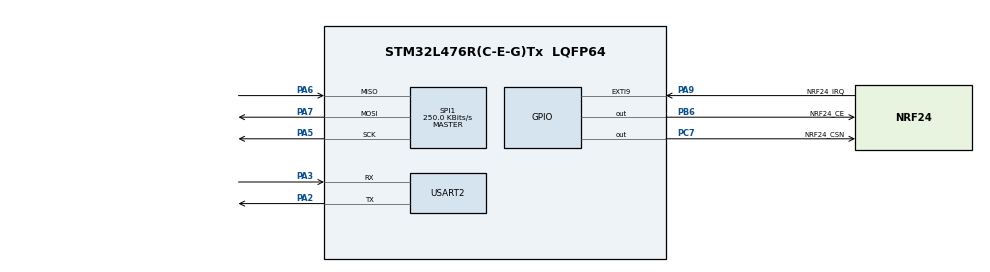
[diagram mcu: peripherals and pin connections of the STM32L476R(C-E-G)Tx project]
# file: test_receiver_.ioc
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Mcu.Family=STM32L4
RCC.MSI_VALUE=4000000
PA14\ (JTCK-SWCLK).Mode=Serial_Wire
PA6.Mode=Full_Duplex_Master
PA7.Mode=Full_Duplex_Master
SPI1.VirtualType=VM_MASTER
PA9.GPIO_Label=NRF24_IRQ
PB6.GPIO_Label=NRF24_CE
ProjectManager.StackSize=0x400
PA14\ (JTCK-SWCLK).Signal=SYS_JTCK-SWCLK
PA3.Mode=Asynchronous
ProjectManager.TargetToolchain=STM32CubeIDE
SPI1.Direction=SPI_DIRECTION_2LINES
PA9.Signal=GPXTI9
PB6.Signal=GPIO_Output
PC7.Signal=GPIO_Output
SPI1.CalculateBaudRate=250.0 KBits/s
RCC.LSE_VALUE=32768
PA5.Signal=SPI1_SCK
RCC.HSE_VALUE=8000000
board=custom
USART2.VirtualMode-Asynchronous=VM_ASYNC
RCC.VCOOutputFreq_Value=32000000
SPI1.Mode=SPI_MODE_MASTER
SPI1.DataSize=SPI_DATASIZE_8BIT
Mcu.Name=STM32L476R(C-E-G)Tx
PA2.Signal=USART2_TX
PC7.GPIO_Label=NRF24_CSN
PA13\ (JTMS-SWDIO).Mode=Serial_Wire
Mcu.Package=LQFP64
PA6.Signal=SPI1_MISO
NVIC.EXTI9_5_IRQn=true\:0\:0\:false\:false\:true\:true\:true
ProjectManager.HeapSize=0x200
RCC.HSI_VALUE=16000000
NVIC.PriorityGroup=NVIC_PRIORITYGROUP_4
PA2.Mode=Asynchronous
PA13\ (JTMS-SWDIO).Signal=SYS_JTMS-SWDIO
SPI1.BaudRatePrescaler=SPI_BAUDRATEPRESCALER_16
PA3.Signal=USART2_RX
PA5.Mode=Full_Duplex_Master
PA7.Signal=SPI1_MOSI

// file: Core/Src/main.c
/* USER CODE BEGIN Header */
/**
  ******************************************************************************
  * @file           : main.c
  * @brief          : Main program body
  ******************************************************************************
  * @attention
  *
  * <h2><center>&copy; Copyright (c) 2021 STMicroelectronics.
  * All rights reserved.</center></h2>
  *
  * This software component is licensed by ST under BSD 3-Clause license,
  * the "License"; You may not use this file except in compliance with the
  * License. You may obtain a copy of the License at:
  *                        opensource.org/licenses/BSD-3-Clause
  *
  ******************************************************************************
  */
/* USER CODE END Header */
#include "main.h"
#include "spi.h"
#include "usart.h"
#include "gpio.h"

/* USER CODE BEGIN Includes */
#include "stdio.h"
#include "nRF24/nRF24.h"
#include "nrF24/nRF24_Defs.h"

#define MESSAGE_BUFF_LEN 33 // 32 payload + \0
/* USER CODE END Includes */

/* USER CODE BEGIN PV */
volatile uint8_t nrf24_rxflag,nrf24_txflag,nrf24_mrflag;
uint8_t Nrf24_Message[MESSAGE_BUFF_LEN];
uint8_t Message[MESSAGE_BUFF_LEN];
uint8_t MessageLength; // potrzebny do dynamicznego payloadu
/* USER CODE END PV */

void SystemClock_Config(void);

int main(void)
{

  /* MCU Configuration--------------------------------------------------------*/

  /* Reset of all peripherals, Initializes the Flash interface and the Systick. */
  HAL_Init();

  /* USER CODE BEGIN Init */
  char mess[23];
  /* USER CODE END Init */

  /* Configure the system clock */
  SystemClock_Config();

  /* Initialize all configured peripherals */
  MX_GPIO_Init();
  MX_SPI1_Init();
  MX_USART2_UART_Init();
  /* USER CODE BEGIN 2 */
  nRF24_Init(&hspi1);
  nRF24_SetRXAddress(0, "Odb");
  nRF24_SetTXAddress("Nad");
  nRF24_RX_Mode();
  uint32_t liczba = 65655;
  /* Bufor dla CAN */

  /* USER CODE END 2 */

  /* Infinite loop */
  /* USER CODE BEGIN WHILE */
  while (1)
  {
	  uint8_t ile = sprintf(mess,"%d",liczba);
	  HAL_UART_Transmit(&huart2, mess, 33, HAL_MAX_DELAY);
	  HAL_UART_Transmit(&huart2, ile, 4, HAL_MAX_DELAY);
	  HAL_Delay(1000);
	  nRF24_Event();
    /* USER CODE END WHILE */

  }
}

void SystemClock_Config(void)
{
  RCC_OscInitTypeDef RCC_OscInitStruct = {0};
  RCC_ClkInitTypeDef RCC_ClkInitStruct = {0};
  RCC_PeriphCLKInitTypeDef PeriphClkInit = {0};

  /** Initializes the RCC Oscillators according to the specified parameters
  * in the RCC_OscInitTypeDef structure.
  */
  RCC_OscInitStruct.OscillatorType = RCC_OSCILLATORTYPE_MSI;
  RCC_OscInitStruct.MSIState = RCC_MSI_ON;
  RCC_OscInitStruct.MSICalibrationValue = 0;
  RCC_OscInitStruct.MSIClockRange = RCC_MSIRANGE_6;
  RCC_OscInitStruct.PLL.PLLState = RCC_PLL_NONE;
  if (HAL_RCC_OscConfig(&RCC_OscInitStruct) != HAL_OK)
  {
    Error_Handler();
  }
  /** Initializes the CPU, AHB and APB buses clocks
  */
  RCC_ClkInitStruct.ClockType = RCC_CLOCKTYPE_HCLK|RCC_CLOCKTYPE_SYSCLK
                              |RCC_CLOCKTYPE_PCLK1|RCC_CLOCKTYPE_PCLK2;
  RCC_ClkInitStruct.SYSCLKSource = RCC_SYSCLKSOURCE_MSI;
  RCC_ClkInitStruct.AHBCLKDivider = RCC_SYSCLK_DIV1;
  RCC_ClkInitStruct.APB1CLKDivider = RCC_HCLK_DIV1;
  RCC_ClkInitStruct.APB2CLKDivider = RCC_HCLK_DIV1;

  if (HAL_RCC_ClockConfig(&RCC_ClkInitStruct, FLASH_LATENCY_0) != HAL_OK)
  {
    Error_Handler();
  }
  PeriphClkInit.PeriphClockSelection = RCC_PERIPHCLK_USART2;
  PeriphClkInit.Usart2ClockSelection = RCC_USART2CLKSOURCE_PCLK1;
  if (HAL_RCCEx_PeriphCLKConfig(&PeriphClkInit) != HAL_OK)
  {
    Error_Handler();
  }
  /** Configure the main internal regulator output voltage
  */
  if (HAL_PWREx_ControlVoltageScaling(PWR_REGULATOR_VOLTAGE_SCALE1) != HAL_OK)
  {
    Error_Handler();
  }
}

/* USER CODE BEGIN 4 */
void HAL_GPIO_EXTI_Callback(uint16_t GPIO_Pin)
{
	if(GPIO_Pin == NRF24_IRQ_Pin)
	{
		nRF24_IRQ_Handler();
	}
}

void nRF24_EventRxCallback(void)
{
	do
	{
		nRF24_ReceivePacket(Message, &MessageLength);
		Message[MessageLength] = 0; // end of string
		MessageLength = sprintf(Message, "%s\n\r", Message);

	}while(!nRF24_IsRxEmpty());
}
/* USER CODE END 4 */

void Error_Handler(void)
{
  __disable_irq();
  while (1)
  {
  }
}

/************************ (C) COPYRIGHT STMicroelectronics *****END OF FILE****/
